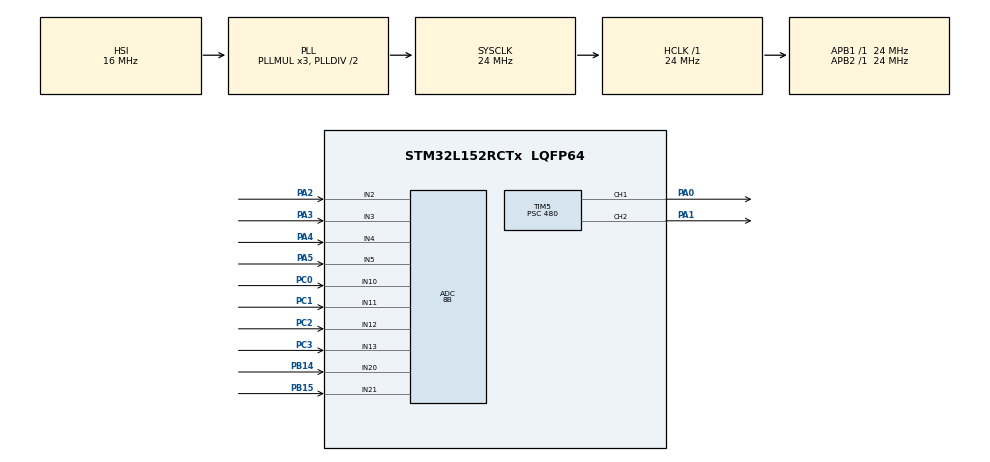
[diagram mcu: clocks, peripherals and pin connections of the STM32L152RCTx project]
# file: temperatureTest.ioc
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ADC.Channel-0\#ChannelRegularConversion=ADC_CHANNEL_2
ADC.Channel-1\#ChannelRegularConversion=ADC_CHANNEL_3
ADC.Channel-2\#ChannelRegularConversion=ADC_CHANNEL_4
ADC.Channel-3\#ChannelRegularConversion=ADC_CHANNEL_5
ADC.Channel-4\#ChannelRegularConversion=ADC_CHANNEL_10
ADC.Channel-5\#ChannelRegularConversion=ADC_CHANNEL_21
ADC.Channel-6\#ChannelRegularConversion=ADC_CHANNEL_20
ADC.Channel-7\#ChannelRegularConversion=ADC_CHANNEL_13
ADC.Channel-8\#ChannelRegularConversion=ADC_CHANNEL_12
ADC.Channel-9\#ChannelRegularConversion=ADC_CHANNEL_11
ADC.ClockPrescaler=ADC_CLOCK_ASYNC_DIV1
ADC.ContinuousConvMode=ENABLE
ADC.DMAContinuousRequests=ENABLE
ADC.DataAlign=ADC_DATAALIGN_RIGHT
ADC.DiscontinuousConvMode=DISABLE
ADC.EOCSelection=ADC_EOC_SEQ_CONV
ADC.EnableAnalogWatchDog=false
ADC.ExternalTrigConv=ADC_SOFTWARE_START
ADC.ExternalTrigConvEdge=ADC_EXTERNALTRIGCONVEDGE_NONE
ADC.InjNumberOfConversion=0
ADC.LowPowerAutoPowerOff=ADC_AUTOPOWEROFF_DISABLE
ADC.LowPowerAutoWait=ADC_AUTOWAIT_DISABLE
ADC.NbrOfConversion=10
ADC.NbrOfConversionFlag=1
ADC.Rank-0\#ChannelRegularConversion=1
ADC.Rank-1\#ChannelRegularConversion=2
ADC.Rank-2\#ChannelRegularConversion=3
ADC.Rank-3\#ChannelRegularConversion=4
ADC.Rank-4\#ChannelRegularConversion=5
ADC.Rank-5\#ChannelRegularConversion=6
ADC.Rank-6\#ChannelRegularConversion=7
ADC.Rank-7\#ChannelRegularConversion=8
ADC.Rank-8\#ChannelRegularConversion=9
ADC.Rank-9\#ChannelRegularConversion=10
ADC.Resolution=ADC_RESOLUTION_8B
ADC.SamplingTime-0\#ChannelRegularConversion=ADC_SAMPLETIME_9CYCLES
ADC.SamplingTime-1\#ChannelRegularConversion=ADC_SAMPLETIME_9CYCLES
ADC.SamplingTime-2\#ChannelRegularConversion=ADC_SAMPLETIME_9CYCLES
ADC.SamplingTime-3\#ChannelRegularConversion=ADC_SAMPLETIME_9CYCLES
ADC.SamplingTime-4\#ChannelRegularConversion=ADC_SAMPLETIME_9CYCLES
ADC.SamplingTime-5\#ChannelRegularConversion=ADC_SAMPLETIME_9CYCLES
ADC.SamplingTime-6\#ChannelRegularConversion=ADC_SAMPLETIME_9CYCLES
ADC.SamplingTime-7\#ChannelRegularConversion=ADC_SAMPLETIME_9CYCLES
ADC.SamplingTime-8\#ChannelRegularConversion=ADC_SAMPLETIME_9CYCLES
ADC.SamplingTime-9\#ChannelRegularConversion=ADC_SAMPLETIME_9CYCLES
ADC.ScanConvMode=ADC_SCAN_ENABLE
Dma.ADC.0.Direction=DMA_PERIPH_TO_MEMORY
Dma.ADC.0.Instance=DMA1_Channel1
Dma.ADC.0.MemDataAlignment=DMA_MDATAALIGN_BYTE
Dma.ADC.0.MemInc=DMA_MINC_ENABLE
Dma.ADC.0.Mode=DMA_CIRCULAR
Dma.ADC.0.PeriphDataAlignment=DMA_PDATAALIGN_BYTE
Dma.ADC.0.PeriphInc=DMA_PINC_DISABLE
Dma.ADC.0.Priority=DMA_PRIORITY_LOW
Dma.Request0=ADC
Dma.Request1=TIM5_CH1
Dma.Request2=TIM5_CH2
Dma.TIM5_CH1.1.Direction=DMA_PERIPH_TO_MEMORY
Dma.TIM5_CH1.1.Instance=DMA2_Channel5
Dma.TIM5_CH1.1.MemDataAlignment=DMA_MDATAALIGN_WORD
Dma.TIM5_CH1.1.MemInc=DMA_MINC_ENABLE
Dma.TIM5_CH1.1.Mode=DMA_NORMAL
Dma.TIM5_CH1.1.PeriphDataAlignment=DMA_PDATAALIGN_WORD
Dma.TIM5_CH1.1.PeriphInc=DMA_PINC_DISABLE
Dma.TIM5_CH1.1.Priority=DMA_PRIORITY_LOW
Dma.TIM5_CH2.2.Direction=DMA_PERIPH_TO_MEMORY
Dma.TIM5_CH2.2.Instance=DMA2_Channel4
Dma.TIM5_CH2.2.MemDataAlignment=DMA_MDATAALIGN_WORD
Dma.TIM5_CH2.2.MemInc=DMA_MINC_ENABLE
Dma.TIM5_CH2.2.Mode=DMA_NORMAL
Dma.TIM5_CH2.2.PeriphDataAlignment=DMA_PDATAALIGN_WORD
Dma.TIM5_CH2.2.PeriphInc=DMA_PINC_DISABLE
Dma.TIM5_CH2.2.Priority=DMA_PRIORITY_LOW
Mcu.Family=STM32L1
Mcu.Name=STM32L152RCTx
Mcu.Package=LQFP64
NVIC.DMA1_Channel1_IRQn=true\:0\:0\:false\:false\:true\:false
NVIC.DMA2_Channel4_IRQn=true\:0\:0\:false\:false\:true\:false
NVIC.DMA2_Channel5_IRQn=true\:0\:0\:false\:false\:true\:false
NVIC.PriorityGroup=NVIC_PRIORITYGROUP_4
NVIC.TIM5_IRQn=true\:0\:0\:false\:false\:true\:true
PA0-WKUP1.Signal=S_TIM5_CH1_ETR
PA1.Signal=S_TIM5_CH2
PA2.Mode=IN2
PA2.Signal=ADC_IN2
PA3.Mode=IN3
PA3.Signal=ADC_IN3
PA4.Mode=IN4
PA4.Signal=ADC_IN4
PA5.Mode=IN5
PA5.Signal=ADC_IN5
PB14.Mode=IN20
PB14.Signal=ADC_IN20
PB15.Mode=IN21
PB15.Signal=ADC_IN21
PC0.Mode=IN10
PC0.Signal=ADC_IN10
PC1.Mode=IN11
PC1.Signal=ADC_IN11
PC2.Mode=IN12
PC2.Signal=ADC_IN12
PC3.Mode=IN13
PC3.Signal=ADC_IN13
ProjectManager.HeapSize=0x200
ProjectManager.StackSize=0x400
ProjectManager.TargetToolchain=SW4STM32
RCC.AHBFreq_Value=24000000
RCC.APB1Freq_Value=24000000
RCC.APB1TimFreq_Value=24000000
RCC.APB2Freq_Value=24000000
RCC.APB2TimFreq_Value=24000000
RCC.HCLKFreq_Value=24000000
RCC.HSE_VALUE=24000000
RCC.HSI_VALUE=16000000
RCC.LSE_VALUE=32768
RCC.MSI_VALUE=2097000
RCC.SYSCLKFreq_VALUE=24000000
RCC.SYSCLKSource=RCC_SYSCLKSOURCE_PLLCLK
RCC.VCOOutputFreq_Value=48000000
SH.S_TIM5_CH1_ETR.0=TIM5_CH1,PWM Generation1 CH1
SH.S_TIM5_CH2.0=TIM5_CH2,PWM Generation2 CH2
TIM5.Channel-PWM\ Generation1\ CH1=TIM_CHANNEL_1
TIM5.Channel-PWM\ Generation2\ CH2=TIM_CHANNEL_2
TIM5.OCPolarity_1=TIM_OCPOLARITY_HIGH
TIM5.OCPolarity_2=TIM_OCPOLARITY_HIGH
TIM5.Period=1000
TIM5.Prescaler=480
TIM5.Pulse-PWM\ Generation1\ CH1=0
TIM5.Pulse-PWM\ Generation2\ CH2=0
VP_TIM5_VS_ClockSourceINT.Mode=Internal
board=custom

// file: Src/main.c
/**
  ******************************************************************************
  * @file           : main.c
  * @brief          : Main program body
  ******************************************************************************
  ** This notice applies to any and all portions of this file
  * that are not between comment pairs USER CODE BEGIN and
  * USER CODE END. Other portions of this file, whether
  * inserted by the user or by software development tools
  * are owned by their respective copyright owners.
  *
  * COPYRIGHT(c) 2018 STMicroelectronics
  *
  * Redistribution and use in source and binary forms, with or without modification,
  * are permitted provided that the following conditions are met:
  *   1. Redistributions of source code must retain the above copyright notice,
  *      this list of conditions and the following disclaimer.
  *   2. Redistributions in binary form must reproduce the above copyright notice,
  *      this list of conditions and the following disclaimer in the documentation
  *      and/or other materials provided with the distribution.
  *   3. Neither the name of STMicroelectronics nor the names of its contributors
  *      may be used to endorse or promote products derived from this software
  *      without specific prior written permission.
  *
  * THIS SOFTWARE IS PROVIDED BY THE COPYRIGHT HOLDERS AND CONTRIBUTORS "AS IS"
  * AND ANY EXPRESS OR IMPLIED WARRANTIES, INCLUDING, BUT NOT LIMITED TO, THE
  * IMPLIED WARRANTIES OF MERCHANTABILITY AND FITNESS FOR A PARTICULAR PURPOSE ARE
  * DISCLAIMED. IN NO EVENT SHALL THE COPYRIGHT HOLDER OR CONTRIBUTORS BE LIABLE
  * FOR ANY DIRECT, INDIRECT, INCIDENTAL, SPECIAL, EXEMPLARY, OR CONSEQUENTIAL
  * DAMAGES (INCLUDING, BUT NOT LIMITED TO, PROCUREMENT OF SUBSTITUTE GOODS OR
  * SERVICES; LOSS OF USE, DATA, OR PROFITS; OR BUSINESS INTERRUPTION) HOWEVER
  * CAUSED AND ON ANY THEORY OF LIABILITY, WHETHER IN CONTRACT, STRICT LIABILITY,
  * OR TORT (INCLUDING NEGLIGENCE OR OTHERWISE) ARISING IN ANY WAY OUT OF THE USE
  * OF THIS SOFTWARE, EVEN IF ADVISED OF THE POSSIBILITY OF SUCH DAMAGE.
  *
  ******************************************************************************
  */
#include "main.h"
#include "stm32l1xx_hal.h"
#include "adc.h"
#include "dma.h"
#include "tim.h"
#include "gpio.h"

/* USER CODE BEGIN Includes */
#include "pwm.h"
/* USER CODE END Includes */

/* USER CODE BEGIN PV */
/* Private variables ---------------------------------------------------------*/

uint8_t temperature_in_buffer[3][5] = {{133,133,133,133,133},
							  	  	  {133,133,133,133,133},
									  {133,133,133,133,133}};
uint8_t temperature_fb_buffer[3][5] = {{133,133,133,133,133},
		  	  	  	  	  	  	  	  {133,133,133,133,133},
									  {133,133,133,133,133}};
uint8_t T_in_avg_data[5];
uint8_t T_fb_avg_data[5];
uint8_t T_in_buffer_pt = 0;
uint8_t T_fb_buffer_pt = 0;
uint8_t E_pointer = 0;
uint8_t F_pointer = 0;
int T_errorSum[5] = {0,0,0,0,0};
uint8_t PeltierFlag = 0;
uint8_t PWMduty = 0;
uint16_t PeltierArrayHC_now = 0;
uint16_t PeltierArrayPWM[5] ={300,0,0,0,0};
uint16_t _PeltierArrayPWM[5] ={200,0,0,0,0};

uint8_t temperature_inNfb[10];
uint8_t * temperature_in = temperature_inNfb;
uint8_t * temperature_fb = temperature_inNfb+5;

uint8_t HEATING	= 1;
uint8_t	COOLING	= 0;

uint16_t	PELTIER_1 =	0x01;
uint16_t	PELTIER_2 =	0x02;
uint16_t	PELTIER_3 =	0x04;
uint16_t	PELTIER_4 =	0x08;
uint16_t	PELTIER_5 =	0x10;

uint8_t tempV = 0;
//with 10k resistor

/* USER CODE END PV */

void SystemClock_Config(void);

/* USER CODE BEGIN PFP */
/* Private function prototypes -----------------------------------------------*/

/* USER CODE END PFP */

/* USER CODE BEGIN 0 */
void HAL_ADC_ConvCpltCallback(ADC_HandleTypeDef* hadc){
	//deal with temperature data
//	HAL_ADC_Start_DMA(&hadc, temperature_E, 5);
	//temperature_E = HAL_ADC_GetValue(&hadc);
}

void HAL_TIM_PeriodElapsedCallback(TIM_HandleTypeDef *htim){
	if(htim->Instance == TIM5){
		//pwm calculation
		PeltierFlag++;
		PeltierFlag%=10;
//		if(!counter){
//		//PWM_Peltier_SetPeltierArray(uint16_t PeltierArray, uint16_t PeltierArrayHC_next, uint16_t * PeltierArrayHC_now, uint16_t * PeltierArrayPWM);
//			if(temperature_E[1] > 120){
//			PWM_Peltier_SetPeltierArray(PELTIER_1,(PELTIER_1*COOLING),PeltierArrayPWM);
//			}else if(temperature_E[1]<118){
//			PWM_Peltier_SetPeltierArray(PELTIER_1,(PELTIER_1*HEATING),_PeltierArrayPWM);
//			}
//		}
//		HAL_TIM_PWM_Start(&htim5, TIM_CHANNEL_1);
//		HAL_TIM_PWM_Start(&htim5, TIM_CHANNEL_2);
		//HAL_ADC_Start_DMA(&hadc, temperature, 5);

	}
}
/* USER CODE END 0 */

int main(void)
{

  /* MCU Configuration----------------------------------------------------------*/

  /* Reset of all peripherals, Initializes the Flash interface and the Systick. */
  HAL_Init();

  /* Configure the system clock */
  SystemClock_Config();

  /* Initialize all configured peripherals */
  MX_GPIO_Init();
  MX_DMA_Init();
  MX_TIM5_Init();
  MX_ADC_Init();
  /* USER CODE BEGIN 2 */
  HAL_TIM_Base_Start_IT(&htim5);
  HAL_TIM_PWM_Start(&htim5, TIM_CHANNEL_1);
  HAL_TIM_PWM_Start(&htim5, TIM_CHANNEL_2);
  HAL_ADC_Start_DMA(&hadc, temperature_inNfb, 10);//need to adjust the sampling time
  temperature_in = temperature_inNfb;
  temperature_fb = temperature_inNfb+5;
  //HAL_ADC_Start(&hadc);
  /* USER CODE END 2 */

  /* Infinite loop */
  /* USER CODE BEGIN WHILE */
  while (1)
  {
//	  tempV++;
  /* USER CODE END WHILE */

  /* USER CODE BEGIN 3 */
	  if(PeltierFlag == 6){
		  //FourPtAvg(5, temperature_in, temperature_in_buffer, &T_in_buffer_pt, T_in_avg_data);
		  //FourPtAvg(5, temperature_fb, temperature_fb_buffer, &T_fb_buffer_pt, T_fb_avg_data);
		  //PWM_Peltier_Control(T_in_avg_data, T_fb_avg_data, T_errorSum);
		  PWM_Peltier_Control(temperature_in, temperature_fb, T_errorSum);
	  }
  }
  /* USER CODE END 3 */

}

void SystemClock_Config(void)
{

  RCC_OscInitTypeDef RCC_OscInitStruct;
  RCC_ClkInitTypeDef RCC_ClkInitStruct;

    /**Configure the main internal regulator output voltage
    */
  __HAL_PWR_VOLTAGESCALING_CONFIG(PWR_REGULATOR_VOLTAGE_SCALE1);

    /**Initializes the CPU, AHB and APB busses clocks
    */
  RCC_OscInitStruct.OscillatorType = RCC_OSCILLATORTYPE_HSI;
  RCC_OscInitStruct.HSIState = RCC_HSI_ON;
  RCC_OscInitStruct.HSICalibrationValue = 16;
  RCC_OscInitStruct.PLL.PLLState = RCC_PLL_ON;
  RCC_OscInitStruct.PLL.PLLSource = RCC_PLLSOURCE_HSI;
  RCC_OscInitStruct.PLL.PLLMUL = RCC_PLL_MUL3;
  RCC_OscInitStruct.PLL.PLLDIV = RCC_PLL_DIV2;
  if (HAL_RCC_OscConfig(&RCC_OscInitStruct) != HAL_OK)
  {
    _Error_Handler(__FILE__, __LINE__);
  }

    /**Initializes the CPU, AHB and APB busses clocks
    */
  RCC_ClkInitStruct.ClockType = RCC_CLOCKTYPE_HCLK|RCC_CLOCKTYPE_SYSCLK
                              |RCC_CLOCKTYPE_PCLK1|RCC_CLOCKTYPE_PCLK2;
  RCC_ClkInitStruct.SYSCLKSource = RCC_SYSCLKSOURCE_PLLCLK;
  RCC_ClkInitStruct.AHBCLKDivider = RCC_SYSCLK_DIV1;
  RCC_ClkInitStruct.APB1CLKDivider = RCC_HCLK_DIV1;
  RCC_ClkInitStruct.APB2CLKDivider = RCC_HCLK_DIV1;

  if (HAL_RCC_ClockConfig(&RCC_ClkInitStruct, FLASH_LATENCY_1) != HAL_OK)
  {
    _Error_Handler(__FILE__, __LINE__);
  }

    /**Configure the Systick interrupt time
    */
  HAL_SYSTICK_Config(HAL_RCC_GetHCLKFreq()/1000);

    /**Configure the Systick
    */
  HAL_SYSTICK_CLKSourceConfig(SYSTICK_CLKSOURCE_HCLK);

  /* SysTick_IRQn interrupt configuration */
  HAL_NVIC_SetPriority(SysTick_IRQn, 0, 0);
}

void _Error_Handler(char *file, int line)
{
  while(1)
  {
  }
}

/************************ (C) COPYRIGHT STMicroelectronics *****END OF FILE****/
